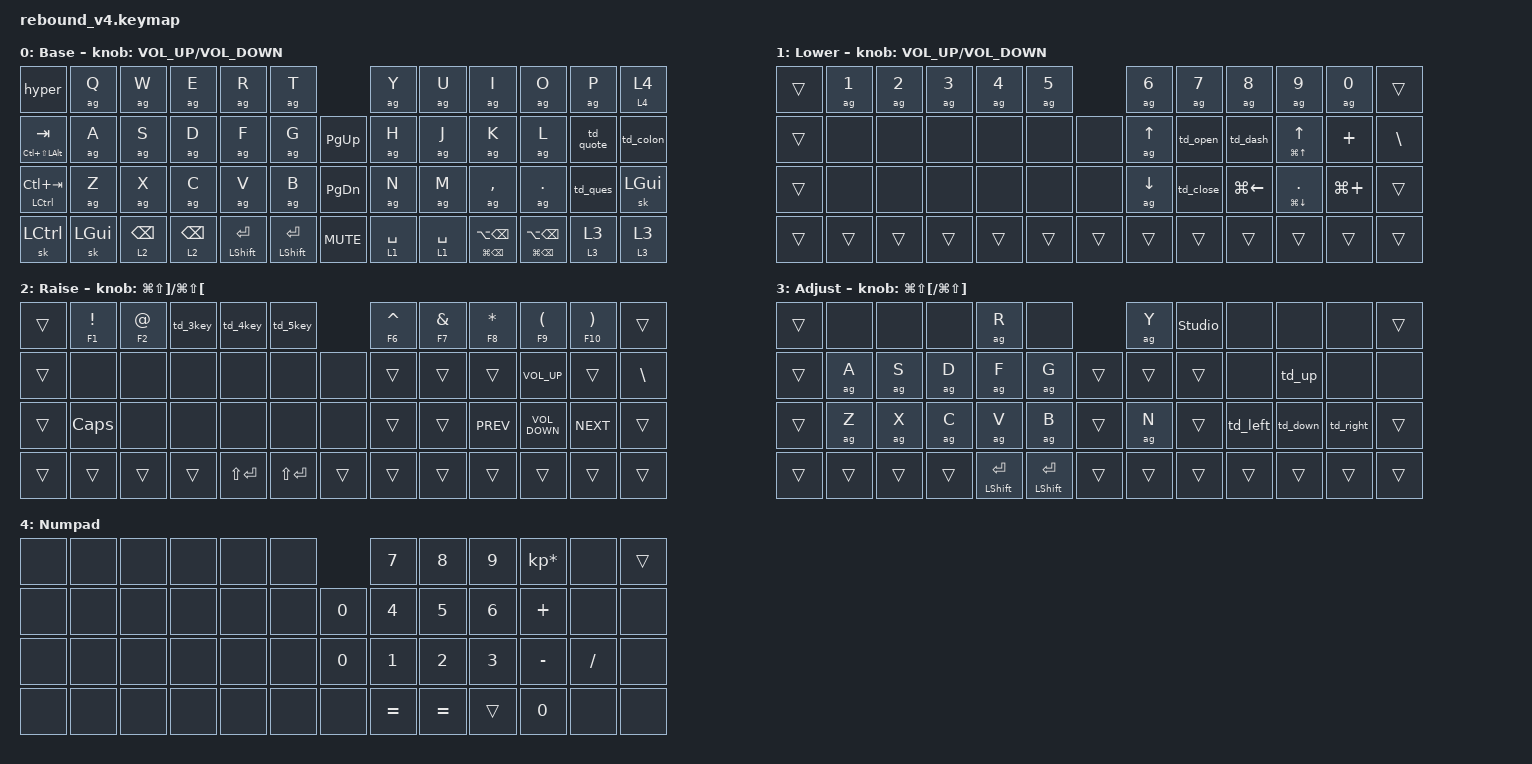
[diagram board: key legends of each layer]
/*
 * Copyright (c) 2020 The ZMK Contributors
 *
 * SPDX-License-Identifier: MIT
 */

#include <behaviors.dtsi>
#include <dt-bindings/zmk/keys.h>

#define DEFAULT 0
#define LWR     1
#define RAS     2
#define ADJ     3

&caps_word { continue-list = <UNDERSCORE MINUS>; };

&mt { tapping-term-ms = <250>; };

/ {
    combos {
    };
};

/ {
    conditional_layers { compatible = "zmk,conditional-layers"; };
};

/ {
    behaviors {
        ag_ht: ag_ht {
            compatible = "zmk,behavior-hold-tap";
            label = "AG_HT";
            bindings = <&gui>, <&kp>;

            #binding-cells = <2>;
            tapping-term-ms = <250>;
            flavor = "tap-preferred";
        };

        td_up: td_up {
            compatible = "zmk,behavior-tap-dance";
            label = "TD_UP";
            #binding-cells = <0>;
            bindings = <&mt PG_UP UP_ARROW>, <&ag UP_ARROW>;

            tapping-term-ms = <250>;
        };

        td_down: td_down {
            compatible = "zmk,behavior-tap-dance";
            label = "TD_DOWN";
            #binding-cells = <0>;
            bindings = <&mt PG_DN DOWN>, <&ag DOWN>;

            tapping-term-ms = <250>;
        };

        td_left: td_left {
            compatible = "zmk,behavior-tap-dance";
            label = "TD_LEFT";
            #binding-cells = <0>;
            bindings = <&mt LA(LEFT) LEFT>, <&ag LEFT>;

            tapping-term-ms = <250>;
        };

        td_right: td_right {
            compatible = "zmk,behavior-tap-dance";
            label = "TD_RIGHT";
            #binding-cells = <0>;
            bindings = <&mt LA(RIGHT) RIGHT>, <&ag RIGHT>;

            tapping-term-ms = <250>;
        };

        hyper: hyper {
            compatible = "zmk,behavior-tap-dance";
            label = "HYPER";
            #binding-cells = <0>;
            bindings =
                <&mt LS(LA(LG(LEFT_CONTROL))) ESCAPE>,
                <&mt C_AL_LOCK C_POWER>,
                <&mt LC(LG(ESC)) LC(C_POWER)>;

            tapping-term-ms = <300>;
        };

        ht_sos: ht_sos {
            compatible = "zmk,behavior-hold-tap";
            label = "HT_SOS";
            bindings = <&kp>, <&sos>;

            #binding-cells = <2>;
            tapping-term-ms = <250>;
            flavor = "tap-preferred";
        };

        mo_tog: mo_tog {
            compatible = "zmk,behavior-hold-tap";
            label = "MO_TOG";
            bindings = <&mo>, <&tog>;

            #binding-cells = <2>;
            tapping-term-ms = <250>;
        };

        ht_slash: ht_slash {
            compatible = "zmk,behavior-hold-tap";
            label = "HT_SLASH";
            bindings = <&interrobang>, <&kp>;

            #binding-cells = <2>;
            tapping-term-ms = <250>;
            flavor = "tap-preferred";
        };

        ht_emdash: ht_emdash {
            compatible = "zmk,behavior-hold-tap";
            label = "HT_EMDASH";
            bindings = <&kp>, <&doubledash>;

            #binding-cells = <2>;
            tapping-term-ms = <250>;
            flavor = "tap-preferred";
        };

        ht_endash: ht_endash {
            compatible = "zmk,behavior-hold-tap";
            label = "HT_ENDASH";
            bindings = <&kp>, <&tripledash>;

            #binding-cells = <2>;
            tapping-term-ms = <250>;
            flavor = "tap-preferred";
        };

        td_ques: td_ques {
            compatible = "zmk,behavior-tap-dance";
            label = "TD_QUES";
            #binding-cells = <0>;
            bindings = <&ht_slash 0 SLASH>, <&kp QUESTION>, <&wth>;

            tapping-term-ms = <250>;
        };

        td_quote: td_quote {
            compatible = "zmk,behavior-tap-dance";
            label = "TD_QUOTE";
            #binding-cells = <0>;
            bindings = <&kp SQT>, <&kp DOUBLE_QUOTES>;

            tapping-term-ms = <250>;
        };

        td_colon: td_colon {
            compatible = "zmk,behavior-tap-dance";
            label = "TD_COLON";
            #binding-cells = <0>;
            bindings = <&kp SEMICOLON>, <&kp COLON>;

            tapping-term-ms = <250>;
        };

        td_open: td_open {
            compatible = "zmk,behavior-tap-dance";
            label = "TD_OPEN";
            #binding-cells = <0>;
            bindings = <&ag LEFT_BRACKET>, <&kp LEFT_BRACE>;

            tapping-term-ms = <250>;
        };

        td_close: td_close {
            compatible = "zmk,behavior-tap-dance";
            label = "TD_CLOSE";
            #binding-cells = <0>;
            bindings = <&ag RIGHT_BRACKET>, <&kp RIGHT_BRACE>;

            tapping-term-ms = <250>;
        };

        td_dash: td_dash {
            compatible = "zmk,behavior-tap-dance";
            label = "TD_DASH";
            #binding-cells = <0>;
            bindings =
                <&mt UNDERSCORE MINUS>,
                <&ht_emdash LS(LA(MINUS)) 0>,
                <&ht_endash LA(MINUS) 0>;
        };

        td_3key: td_3key {
            compatible = "zmk,behavior-tap-dance";
            label = "TD_3KEY";
            #binding-cells = <0>;
            bindings = <&mt F3 HASH>, <&kp LA(LS(NUMBER_2))>;
        };

        td_4key: td_4key {
            compatible = "zmk,behavior-tap-dance";
            label = "TD_4KEY";
            #binding-cells = <0>;
            bindings = <&mt F4 LA(NUMBER_3)>, <&kp DOLLAR>;
        };

        td_5key: td_5key {
            compatible = "zmk,behavior-tap-dance";
            label = "TD_5KEY";
            #binding-cells = <0>;
            bindings = <&mt F5 PERCENT>, <&kp LA(NUMBER_2)>;
        };
    };

    macros {
        gui: gui {
            compatible = "zmk,behavior-macro-one-param";
            #binding-cells = <1>;
            bindings =
                <&macro_press>,
                <&kp LEFT_GUI>,
                <&macro_tap>,
                <&macro_param_1to1 &kp MACRO_PLACEHOLDER>,
                <&macro_press>,
                <&kp LEFT_GUI>;

            label = "GUI";
        };

        ag: ag {
            compatible = "zmk,behavior-macro-one-param";
            #binding-cells = <1>;
            bindings =
                <&macro_press>,
                <&macro_param_1to1 &macro_param_1to2 &ag_ht MACRO_PLACEHOLDER MACRO_PLACEHOLDER>,
                <&macro_pause_for_release>,
                <&macro_release>,
                <&macro_param_1to1 &macro_param_1to2 &ag_ht MACRO_PLACEHOLDER MACRO_PLACEHOLDER>;

            label = "AG";
        };

        interrobang: interrobang {
            compatible = "zmk,behavior-macro";
            #binding-cells = <0>;
            bindings =
                <&macro_tap>,
                <&kp QUESTION &kp EXCLAMATION>,
                <&macro_release>;

            label = "INTERROBANG";
        };

        wth: wth {
            compatible = "zmk,behavior-macro";
            #binding-cells = <0>;
            bindings =
                <&macro_tap>,
                <&kp QUESTION &kp QUESTION &kp QUESTION>,
                <&macro_release>;

            label = "WTH";
        };

        sos: sos {
            compatible = "zmk,behavior-macro";
            #binding-cells = <0>;
            bindings = <&macro_tap>, <&kp LA(LG(ESC))>, <&macro_release>;

            label = "SOS";
        };

        powerup: powerup {
            compatible = "zmk,behavior-macro";
            #binding-cells = <0>;
            bindings = <&macro_tap>, <&kp LC(C_POWER)>, <&macro_release>;

            label = "POWERUP";
        };

        doubledash: doubledash {
            compatible = "zmk,behavior-macro";
            #binding-cells = <0>;
            bindings = <&macro_tap>, <&kp MINUS &kp MINUS>, <&macro_release>;

            label = "DOUBLEDASH";
        };

        tripledash: tripledash {
            compatible = "zmk,behavior-macro";
            #binding-cells = <0>;
            bindings =
                <&macro_tap>,
                <&kp MINUS &kp MINUS &kp MINUS>,
                <&macro_release>;

            label = "TRIPLEDASH";
        };
    };

    combos {
        compatible = "zmk,combos";

        capwordz {
            bindings = <&caps_word>;
            key-positions = <26 27>;
        };

        caplocks {
            bindings = <&kp CAPSLOCK>;
            key-positions = <26 36>;
        };
    };

    keymap {
        compatible = "zmk,keymap";

        default_layer {
            label = "Base";
            bindings = <
&hyper                    &ag Q     &ag W       &ag E       &ag R                 &ag T                             &ag Y        &ag U        &ag I                            &ag O                            &ag P        &mo_tog 4 4
&mt LC(LS(LALT)) TAB      &ag A     &ag S       &ag D       &ag F                 &ag G                 &kp PG_UP   &ag H        &ag J        &ag K                            &ag L                            &td_quote    &td_colon
&mt LEFT_CONTROL LC(TAB)  &ag Z     &ag X       &ag C       &ag V                 &ag B                 &kp PG_DN   &ag N        &ag M        &ag COMMA                        &ag DOT                          &td_ques     &sk LEFT_GUI
&sk LCTRL                 &sk LGUI  &lt 2 BSPC  &lt 2 BSPC  &mt LEFT_SHIFT ENTER  &mt LEFT_SHIFT ENTER  &kp C_MUTE  &lt 1 SPACE  &lt 1 SPACE  &mt LG(BACKSPACE) LA(BACKSPACE)  &mt LG(BACKSPACE) LA(BACKSPACE)  &mo_tog 3 3  &mo_tog 3 3
            >;

            sensor-bindings = <&inc_dec_kp C_VOLUME_UP C_VOLUME_DOWN>;
        };

        lower_layer {
            label = "Lower";
            bindings = <
&trans  &ag NUMBER_1  &ag NUMBER_2  &ag NUMBER_3  &ag NUMBER_4  &ag N5          &ag NUMBER_6  &ag N7     &ag N8        &ag N9                     &ag N0        &trans
&trans  &none         &none         &none         &none         &none   &none   &ag UP_ARROW  &td_open   &td_dash      &mt LG(UP_ARROW) UP_ARROW  &kp PLUS      &kp BSLH
&trans  &none         &none         &none         &none         &none   &none   &ag DOWN      &td_close  &kp LG(LEFT)  &mt LG(DOWN) PERIOD        &kp LG(PLUS)  &trans
&trans  &trans        &trans        &trans        &trans        &trans  &trans  &trans        &trans     &trans        &trans                     &trans        &trans
            >;

            sensor-bindings = <&inc_dec_kp C_VOLUME_UP C_VOLUME_DOWN>;
        };

        raise_layer {
            label = "Raise";
            bindings = <
&trans  &mt F1 EXCL  &mt F2 AT  &td_3key  &td_4key       &td_5key               &mt F6 CARET  &mt F7 AMPS  &mt F8 ASTRK  &mt F9 LPAR        &mt F10 RPAR  &trans
&trans  &none        &none      &none     &none          &none          &none   &trans        &trans       &trans        &kp C_VOLUME_UP    &trans        &kp BSLH
&trans  &kp CAPS     &none      &none     &none          &none          &none   &trans        &trans       &kp C_PREV    &kp C_VOLUME_DOWN  &kp C_NEXT    &trans
&trans  &trans       &trans     &trans    &kp LS(ENTER)  &kp LS(ENTER)  &trans  &trans        &trans       &trans        &trans             &trans        &trans
            >;

            sensor-bindings = <&inc_dec_kp LG(LS(RBKT)) LG(LS(LBKT))>;
        };

        adjust_layer {
            label = "Adjust";
            bindings = <
&trans  &none   &none   &none   &ag R                 &none                         &ag Y   &studio_unlock  &none     &none     &none      &trans
&trans  &ag A   &ag S   &ag D   &ag F                 &ag G                 &trans  &trans  &trans          &none     &td_up    &none      &none
&trans  &ag Z   &ag X   &ag C   &ag V                 &ag B                 &trans  &ag N   &trans          &td_left  &td_down  &td_right  &trans
&trans  &trans  &trans  &trans  &mt LEFT_SHIFT ENTER  &mt LEFT_SHIFT ENTER  &trans  &trans  &trans          &trans    &trans    &trans     &trans
            >;

            sensor-bindings = <&inc_dec_kp LG(LS(LBKT)) LG(LS(RBKT))>;
        };

        numpad_layer {
            bindings = <
&none  &none  &none  &none  &none  &none          &kp N7     &kp N8     &kp N9  &kp KP_MULTIPLY  &none     &trans
&none  &none  &none  &none  &none  &none  &kp N0  &kp N4     &kp N5     &kp N6  &kp PLUS         &none     &none
&none  &none  &none  &none  &none  &none  &kp N0  &kp N1     &kp N2     &kp N3  &kp MINUS        &kp FSLH  &none
&none  &none  &none  &none  &none  &none  &none   &kp EQUAL  &kp EQUAL  &trans  &kp NUMBER_0     &none     &none
            >;

            label = "Numpad";
        };
    };
};
